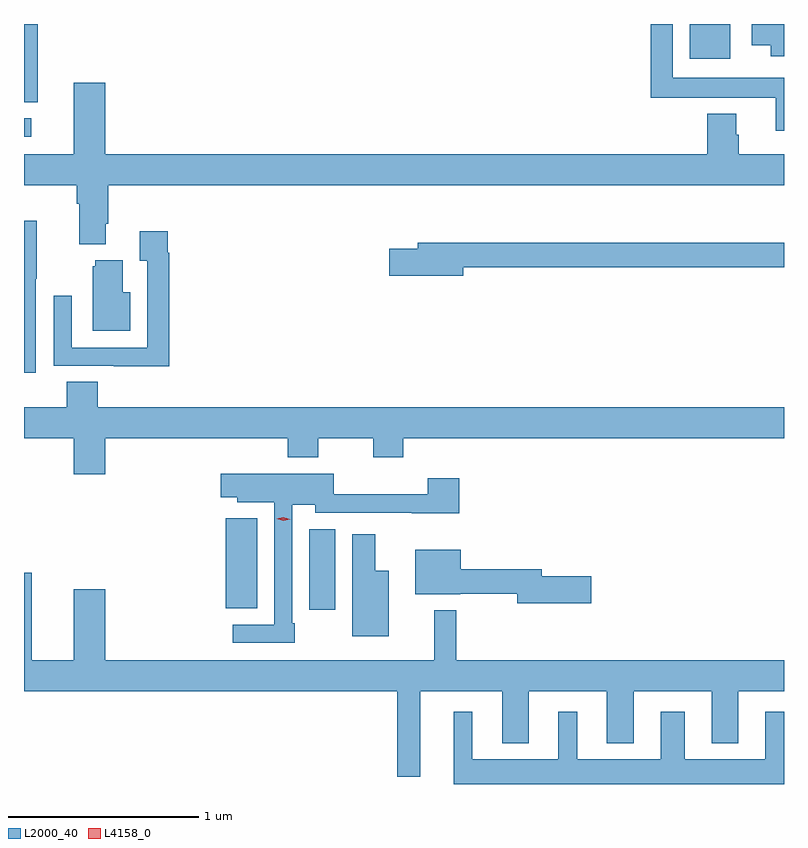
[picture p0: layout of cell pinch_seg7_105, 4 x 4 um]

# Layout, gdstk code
import gdstk
lib = gdstk.Library(unit=1e-6, precision=1e-09)
def R(c, l, rs):  # rectangles x0, y0, x1, y1
    for r in rs: c.add(gdstk.rectangle(r[:2], r[2:], *l))
def P(c, l, *ps):  # polygons
    for p in ps: c.add(gdstk.Polygon(p, *l))
L2000_40 = (2000, 40)
L4158_0 = (4158, 0)

pinch_seg7_105 = lib.new_cell('pinch_seg7_105')
R(pinch_seg7_105, L2000_40, [(885.527,1021.026,885.664,1021.451), (885.086,1021.033,885.253,1021.507), (884.025,1023.516,884.062,1023.612), (884.025,1023.697,884.098,1024.109), (887.528,1023.926,887.743,1024.109)])
P(pinch_seg7_105, L2000_40, [(888.025,1024.109),(887.855,1024.109),(887.855,1023.998),(887.954,1023.998),(887.954,1023.939),(888.025,1023.939)],
  [(888.025,1023.826),(887.439,1023.826),(887.439,1024.109),(887.323,1024.109),(887.323,1023.72),(887.446,1023.72),(887.446,1023.722),(887.981,1023.722),(887.981,1023.548),(888.025,1023.548)],
  [(884.455,1023.058),(884.468,1023.058),(884.468,1023.26),(888.025,1023.26),(888.025,1023.424),(887.786,1023.424),(887.786,1023.525),(887.773,1023.525),(887.773,1023.637),(887.621,1023.637),(887.621,1023.424),(884.452,1023.424),(884.452,1023.799),(884.288,1023.799),(884.288,1023.424),(884.025,1023.424),(884.025,1023.26),(884.303,1023.26),(884.303,1023.164),(884.315,1023.164),(884.315,1022.951),(884.455,1022.951)],
  [(884.088,1022.767),(884.091,1022.767),(884.091,1023.074),(884.025,1023.074),(884.025,1022.274),(884.088,1022.274)],
  [(884.789,1022.906),(884.782,1022.906),(884.782,1023.019),(884.633,1023.019),(884.633,1022.863),(884.673,1022.863),(884.673,1022.406),(884.277,1022.406),(884.277,1022.68),(884.181,1022.68),(884.181,1022.31),(884.497,1022.31),(884.497,1022.309),(884.789,1022.309)],
  [(886.336,1022.83),(888.025,1022.83),(888.025,1022.959),(886.097,1022.959),(886.097,1022.925),(885.948,1022.925),(885.948,1022.783),(886.336,1022.783)],
  [(884.584,1022.698),(884.545,1022.698),(884.545,1022.866),(884.399,1022.866),(884.399,1022.835),(884.387,1022.835),(884.387,1022.495),(884.584,1022.495)],
  [(884.452,1021.928),(885.413,1021.928),(885.413,1021.829),(885.573,1021.829),(885.573,1021.928),(885.862,1021.928),(885.862,1021.829),(886.022,1021.829),(886.022,1021.928),(888.025,1021.928),(888.025,1022.092),(884.414,1022.092),(884.414,1022.225),(884.249,1022.225),(884.249,1022.092),(884.025,1022.092),(884.025,1021.928),(884.288,1021.928),(884.288,1021.74),(884.452,1021.74)],
  [(885.451,1020.955),(885.438,1020.955),(885.438,1021.58),(885.558,1021.58),(885.558,1021.536),(886.067,1021.536),(886.067,1021.535),(886.316,1021.535),(886.316,1021.717),(886.151,1021.717),(886.151,1021.634),(885.654,1021.634),(885.654,1021.741),(885.06,1021.741),(885.06,1021.619),(885.147,1021.619),(885.147,1021.592),(885.342,1021.592),(885.342,1020.948),(885.123,1020.948),(885.123,1020.852),(885.451,1020.852)],
  [(885.946,1021.231),(885.874,1021.231),(885.874,1021.423),(885.752,1021.423),(885.752,1020.887),(885.946,1020.887)],
  [(887.011,1021.202),(886.75,1021.202),(886.75,1021.238),(886.324,1021.238),(886.324,1021.342),(886.085,1021.342),(886.085,1021.109),(886.32,1021.109),(886.32,1021.11),(886.622,1021.11),(886.622,1021.06),(887.011,1021.06)],
  [(886.111,1020.596),(886.541,1020.596),(886.541,1020.323),(886.681,1020.323),(886.681,1020.596),(887.093,1020.596),(887.093,1020.323),(887.233,1020.323),(887.233,1020.596),(887.645,1020.596),(887.645,1020.323),(887.785,1020.323),(887.785,1020.596),(888.025,1020.596),(888.025,1020.76),(886.301,1020.76),(886.301,1021.024),(886.183,1021.024),(886.183,1020.76),(884.452,1020.76),(884.452,1021.135),(884.288,1021.135),(884.288,1020.76),(884.065,1020.76),(884.065,1021.222),(884.025,1021.222),(884.025,1020.596),(885.99,1020.596),(885.99,1020.147),(886.111,1020.147)],
  [(888.025,1020.49),(887.927,1020.49),(887.927,1020.238),(887.503,1020.238),(887.503,1020.49),(887.375,1020.49),(887.375,1020.238),(886.936,1020.238),(886.936,1020.49),(886.838,1020.49),(886.838,1020.238),(886.384,1020.238),(886.384,1020.49),(886.286,1020.49),(886.286,1020.109),(888.025,1020.109)])
P(pinch_seg7_105, L4158_0, [(885.39,1021.494),(885.356,1021.504),(885.355,1021.504),(885.356,1021.505),(885.39,1021.514),(885.425,1021.503),(885.425,1021.503),(885.425,1021.503)])

lib.write_gds('pinch_seg7_105.gds')
